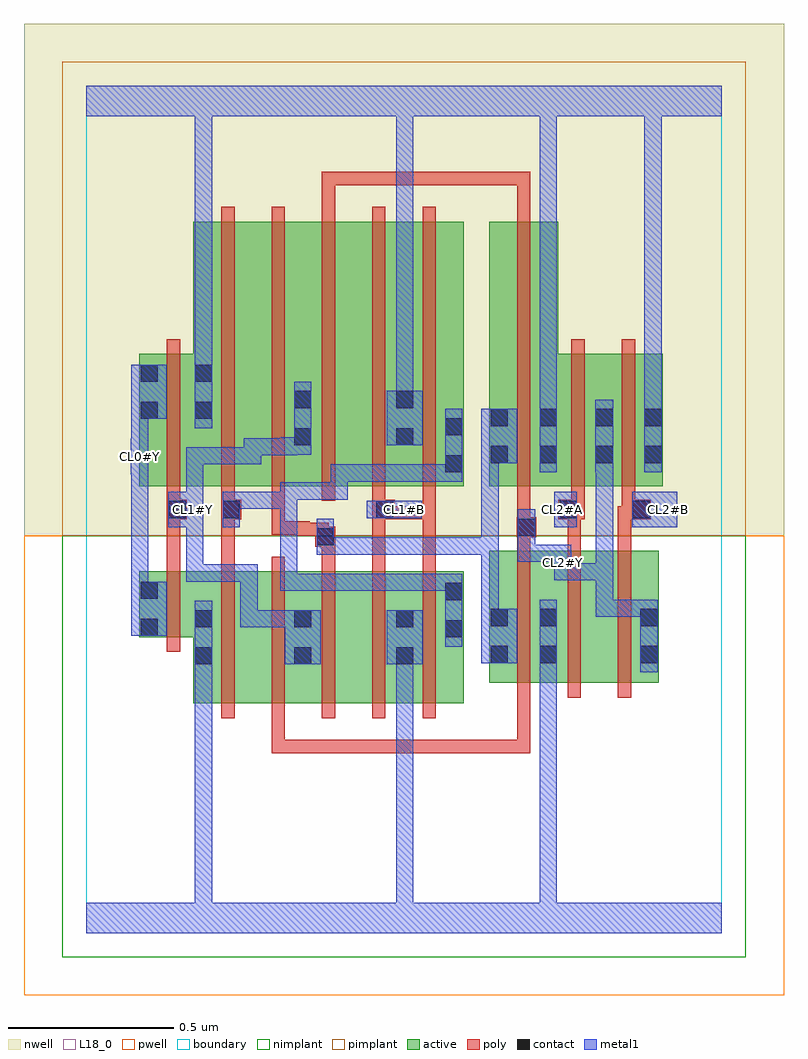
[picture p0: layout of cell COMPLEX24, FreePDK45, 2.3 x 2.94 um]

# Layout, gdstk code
import gdstk
lib = gdstk.Library(unit=1e-6, precision=1e-09)
def R(c, l, rs):  # rectangles x0, y0, x1, y1
    for r in rs: c.add(gdstk.rectangle(r[:2], r[2:], *l))
def A(c, l, x, y, w, h, nx, ny, dx, dy):  # array of equal rectangles
    R(c, l, [(x+i*dx, y+j*dy, x+i*dx+w, y+j*dy+h) for i in range(nx) for j in range(ny)])
active = (1, 0)
pwell = (2, 0)
nwell = (3, 0)
nimplant = (4, 0)
pimplant = (5, 0)
poly = (9, 0)
contact = (10, 0)
metal1 = (11, 0)
L18_0 = (18, 0)
boundary = (235, 0)

complex24 = lib.new_cell('COMPLEX24')
R(complex24, active, [(0.324,0.694,0.504,1.094), (0.504,0.694,0.684,1.094), (0.624,0.694,0.808,1.094), (0.624,0.694,0.684,0.98), (0.808,0.694,0.992,1.094), (0.932,0.694,1.14,1.094), (0.932,0.694,0.992,0.98), (1.08,0.694,1.14,1.094), (1.218,0.756,1.278,1.156), (1.218,0.756,1.426,1.156), (1.366,0.756,1.55,1.156), (1.366,0.756,1.426,0.984), (1.55,0.756,1.73,1.156), (1.67,0.756,1.73,1.156), (0.324,0.78,0.384,0.98), (0.16,0.894,0.22,1.094), (0.16,0.894,0.384,1.094), (0.16,1.35,0.22,1.75), (0.16,1.35,0.384,1.75), (0.324,1.35,0.504,2.15), (0.504,1.35,0.684,2.15), (0.624,1.35,0.808,2.15), (0.808,1.35,0.992,2.15), (0.932,1.35,1.14,2.15), (1.08,1.35,1.14,2.15), (1.218,1.35,1.426,2.15), (1.218,1.35,1.278,2.044), (1.366,1.35,1.594,1.75), (1.534,1.35,1.742,1.75), (1.682,1.35,1.742,1.75), (1.366,1.382,1.426,2.098), (1.534,1.416,1.594,1.75), (0.624,1.42,0.684,2.044), (0.932,1.458,0.992,2.13), (0.324,1.544,0.384,1.782)])
R(complex24, pwell, [(-0.188,-0.188,2.108,1.2)])
R(complex24, nwell, [(-0.188,1.2,2.108,2.748)])
R(complex24, nimplant, [(-0.072,-0.072,1.992,1.2)])
R(complex24, pimplant, [(-0.072,1.2,1.992,2.632)])
A(complex24, poly, 0.408, 0.65, 0.04, 0.488, 5, 1, 0.152, 0)
A(complex24, poly, 1.302, 0.712, 0.04, 0.488, 3, 1, 0.152, 0)
A(complex24, poly, 0.408, 1.306, 0.04, 0.888, 5, 1, 0.152, 0)
R(complex24, poly, [(0.56,0.544,0.6,0.584), (0.56,0.544,0.6,0.584), (0.56,0.544,0.6,0.584), (0.56,0.544,0.6,0.69), (0.56,0.544,0.798,0.584), (0.758,0.544,0.798,0.584), (0.758,0.544,0.798,0.584), (0.758,0.544,0.798,0.584), (0.758,0.544,0.95,0.584), (0.91,0.544,0.95,0.584), (0.91,0.544,0.95,0.584), (0.91,0.544,0.95,0.584), (0.91,0.544,1.234,0.584), (1.194,0.544,1.234,0.584), (1.194,0.544,1.234,0.584), (1.194,0.544,1.234,0.584), (1.194,0.544,1.342,0.584), (1.302,0.544,1.342,0.584), (1.302,0.544,1.342,0.584), (1.302,0.544,1.342,0.584), (1.302,0.544,1.342,0.752), (0.244,0.85,0.284,1.138), (0.244,1.098,0.284,1.29), (0.408,1.098,0.448,1.29), (0.712,1.098,0.752,1.208), (0.864,1.098,0.904,1.29), (1.016,1.098,1.056,1.29), (1.302,1.16,1.342,1.236), (1.454,1.16,1.494,1.29), (1.606,1.16,1.646,1.29), (0.692,1.168,0.752,1.228), (0.692,1.188,0.732,1.24), (1.3,1.196,1.36,1.256), (0.636,1.2,0.732,1.24), (0.636,1.2,0.676,1.244), (0.692,1.2,0.732,1.24), (0.56,1.204,0.6,1.244), (0.56,1.204,0.676,1.244), (0.56,1.204,0.6,1.346), (1.302,1.216,1.342,1.256), (1.302,1.216,1.342,1.256), (1.302,1.216,1.342,1.346), (0.244,1.25,0.304,1.31), (0.408,1.25,0.468,1.31), (0.864,1.25,0.904,1.29), (0.864,1.25,0.904,1.29), (0.864,1.25,1.056,1.29), (0.864,1.25,0.932,1.31), (1.016,1.25,1.056,1.29), (1.016,1.25,1.056,1.29), (1.016,1.25,1.056,1.29), (1.016,1.25,1.056,1.29), (1.016,1.25,1.056,1.29), (1.016,1.25,1.056,1.346), (1.426,1.25,1.506,1.31), (1.454,1.25,1.494,1.29), (1.454,1.25,1.494,1.29), (1.606,1.25,1.658,1.29), (1.618,1.25,1.658,1.29), (1.618,1.25,1.706,1.31), (0.244,1.27,0.284,1.346), (0.244,1.27,0.284,1.31), (0.244,1.27,0.284,1.31), (0.408,1.27,0.448,1.346), (0.408,1.27,0.448,1.31), (0.408,1.27,0.448,1.31), (0.864,1.27,0.904,1.346), (1.466,1.27,1.506,1.346), (1.618,1.27,1.658,1.346), (0.244,1.306,0.284,1.794), (1.302,1.306,1.342,2.194), (1.466,1.306,1.506,1.794), (1.618,1.306,1.658,1.794), (0.712,2.154,0.752,2.3), (1.302,2.154,1.342,2.3), (0.712,2.26,0.752,2.3), (0.712,2.26,0.782,2.3), (0.742,2.26,0.782,2.3), (0.742,2.26,0.95,2.3), (0.91,2.26,0.95,2.3), (0.91,2.26,0.95,2.3), (0.91,2.26,0.95,2.3), (0.91,2.26,1.162,2.3), (1.122,2.26,1.162,2.3), (1.122,2.26,1.162,2.3), (1.122,2.26,1.162,2.3), (1.122,2.26,1.342,2.3), (1.302,2.26,1.342,2.3), (1.302,2.26,1.342,2.3), (1.302,2.26,1.342,2.3)])
R(complex24, contact, [(0.328,0.812,0.38,0.864), (0.628,0.812,0.68,0.864), (0.936,0.812,0.988,0.864), (1.222,0.816,1.274,0.868), (1.37,0.816,1.422,0.868), (1.674,0.816,1.726,0.868), (1.084,0.894,1.136,0.946), (0.164,0.898,0.216,0.95), (0.328,0.924,0.38,0.976), (0.628,0.924,0.68,0.976), (0.936,0.924,0.988,0.976), (1.222,0.928,1.274,0.98), (1.37,0.928,1.422,0.98), (1.674,0.928,1.726,0.98), (1.084,1.006,1.136,1.058), (0.164,1.01,0.216,1.062), (0.696,1.172,0.748,1.224), (1.304,1.2,1.356,1.252), (0.248,1.254,0.3,1.306), (0.412,1.254,0.464,1.306), (0.876,1.254,0.928,1.306), (1.43,1.254,1.482,1.306), (1.65,1.254,1.702,1.306), (1.084,1.392,1.136,1.444), (1.222,1.42,1.274,1.472), (1.37,1.42,1.422,1.472), (1.538,1.42,1.59,1.472), (1.686,1.42,1.738,1.472), (0.628,1.474,0.68,1.526), (0.936,1.474,0.988,1.526), (1.084,1.504,1.136,1.556), (1.222,1.532,1.274,1.584), (1.37,1.532,1.422,1.584), (1.538,1.532,1.59,1.584), (1.686,1.532,1.738,1.584), (0.164,1.554,0.216,1.606), (0.328,1.554,0.38,1.606), (0.628,1.586,0.68,1.638), (0.936,1.586,0.988,1.638), (0.164,1.666,0.216,1.718), (0.328,1.666,0.38,1.718)])
A(complex24, metal1, 0.974, 1.144, 0.052, 0.052, 3, 1, 0.11, 0)
R(complex24, metal1, [(0,0,1.92,0.092), (0.328,0.04,0.38,0.092), (0.328,0.04,0.38,0.092), (0.328,0.04,0.38,0.092), (0.328,0.04,0.38,0.092), (0.328,0.04,0.38,0.092), (0.328,0.04,0.38,0.092), (0.328,0.04,0.38,0.092), (0.328,0.04,0.38,0.092), (0.328,0.04,0.38,0.092), (0.328,0.04,0.38,0.092), (0.328,0.04,0.38,0.836), (0.936,0.04,0.988,0.092), (0.936,0.04,0.988,0.092), (0.936,0.04,0.988,0.092), (0.936,0.04,0.988,0.092), (0.936,0.04,0.988,0.092), (0.936,0.04,0.988,0.092), (0.936,0.04,0.988,0.092), (0.936,0.04,0.988,0.092), (0.936,0.04,0.988,0.092), (0.936,0.04,0.988,0.092), (0.936,0.04,0.988,0.092), (0.936,0.04,0.988,0.092), (0.936,0.04,0.988,0.864), (1.37,0.04,1.422,0.092), (1.37,0.04,1.422,0.092), (1.37,0.04,1.422,0.092), (1.37,0.04,1.422,0.092), (1.37,0.04,1.422,0.092), (1.37,0.04,1.422,0.092), (1.37,0.04,1.422,0.092), (1.37,0.04,1.422,0.092), (1.37,0.04,1.422,0.092), (1.37,0.04,1.422,0.092), (1.37,0.04,1.422,0.84), (0.328,0.784,0.38,0.836), (0.328,0.784,0.38,0.836), (0.328,0.784,0.38,1.004), (1.37,0.788,1.422,0.84), (1.37,0.788,1.422,0.84), (1.37,0.788,1.422,1.008), (1.674,0.788,1.726,1.008), (0.6,0.812,0.708,0.976), (0.908,0.812,1.016,0.976), (1.194,0.816,1.302,0.98), (1.084,0.866,1.136,1.086), (0.136,0.898,0.244,1.062), (0.466,0.924,0.518,0.976), (0.466,0.924,0.638,0.976), (0.466,0.924,0.518,1.114), (0.586,0.924,0.638,0.976), (0.586,0.924,0.652,0.976), (1.194,0.928,1.246,1.196), (1.54,0.956,1.592,1.008), (1.54,0.956,1.726,1.008), (1.54,0.956,1.592,1.118), (1.674,0.956,1.726,1.008), (1.674,0.956,1.726,1.008), (0.136,1.01,0.188,1.438), (0.586,1.034,0.638,1.086), (0.586,1.034,0.79,1.086), (0.586,1.034,0.638,1.334), (0.738,1.034,0.79,1.086), (0.738,1.034,0.79,1.086), (0.738,1.034,0.79,1.086), (0.738,1.034,0.9,1.086), (0.848,1.034,0.9,1.086), (0.848,1.034,0.9,1.086), (0.848,1.034,0.9,1.086), (0.848,1.034,1.136,1.086), (1.084,1.034,1.136,1.086), (1.084,1.034,1.136,1.086), (0.302,1.062,0.354,1.114), (0.302,1.062,0.518,1.114), (0.302,1.062,0.354,1.334), (0.466,1.062,0.518,1.114), (0.466,1.062,0.518,1.114), (0.466,1.062,0.518,1.114), (1.414,1.066,1.592,1.118), (1.414,1.066,1.466,1.174), (1.54,1.066,1.592,1.118), (1.54,1.066,1.592,1.118), (1.54,1.066,1.592,1.118), (1.54,1.066,1.592,1.118), (1.54,1.066,1.592,1.118), (1.54,1.066,1.592,1.444), (1.304,1.122,1.466,1.174), (1.304,1.122,1.356,1.28), (0.696,1.144,0.748,1.196), (0.696,1.144,0.748,1.196), (0.696,1.144,0.748,1.252), (0.696,1.144,1.026,1.196), (0.974,1.144,1.026,1.196), (0.974,1.144,1.026,1.196), (0.974,1.144,1.136,1.196), (1.084,1.144,1.246,1.196), (1.194,1.144,1.246,1.196), (1.194,1.144,1.246,1.196), (1.194,1.144,1.246,1.196), (1.194,1.144,1.246,1.196), (1.194,1.144,1.246,1.472), (0.248,1.226,0.346,1.334), (0.412,1.226,0.464,1.334), (1.414,1.226,1.482,1.334), (1.65,1.226,1.786,1.334), (0.848,1.254,1.014,1.306), (0.294,1.282,0.354,1.334), (0.302,1.282,0.354,1.334), (0.302,1.282,0.354,1.334), (0.302,1.282,0.354,1.334), (0.302,1.282,0.354,1.468), (0.412,1.282,0.464,1.334), (0.412,1.282,0.464,1.334), (0.412,1.282,0.638,1.334), (0.586,1.282,0.638,1.334), (0.586,1.282,0.638,1.334), (0.586,1.282,0.638,1.334), (0.586,1.282,0.638,1.362), (0.586,1.31,0.638,1.362), (0.586,1.31,0.79,1.362), (0.738,1.31,0.79,1.362), (0.738,1.31,0.79,1.362), (0.738,1.31,0.79,1.362), (0.738,1.31,0.79,1.416), (0.738,1.364,0.79,1.416), (0.738,1.364,1.02,1.416), (0.968,1.364,1.02,1.416), (0.968,1.364,1.02,1.416), (0.968,1.364,1.02,1.416), (0.968,1.364,1.136,1.416), (1.084,1.364,1.136,1.416), (1.084,1.364,1.136,1.416), (1.084,1.364,1.136,1.584), (0.134,1.386,0.188,1.494), (1.37,1.392,1.422,1.612), (1.538,1.392,1.592,1.612), (1.686,1.392,1.738,1.612), (0.302,1.416,0.354,1.468), (0.302,1.416,0.528,1.468), (0.476,1.416,0.528,1.496), (1.194,1.42,1.302,1.584), (0.136,1.442,0.188,1.606), (0.476,1.444,0.528,1.496), (0.476,1.444,0.528,1.496), (0.476,1.444,0.638,1.496), (0.586,1.444,0.638,1.498), (0.586,1.446,0.68,1.498), (0.628,1.446,0.68,1.666), (0.908,1.474,1.016,1.638), (0.328,1.526,0.38,1.746), (0.136,1.554,0.188,1.606), (0.136,1.554,0.188,1.606), (0.136,1.554,0.244,1.718), (1.37,1.56,1.422,2.52), (1.686,1.56,1.738,2.52), (0.936,1.586,0.988,1.638), (0.936,1.586,0.988,1.638), (0.936,1.586,0.988,2.52), (0.328,1.694,0.38,2.52), (0,2.468,1.92,2.56), (0.328,2.468,0.38,2.52), (0.328,2.468,0.38,2.52), (0.328,2.468,0.38,2.52), (0.328,2.468,0.38,2.52), (0.328,2.468,0.38,2.52), (0.328,2.468,0.38,2.52), (0.328,2.468,0.38,2.52), (0.328,2.468,0.38,2.52), (0.936,2.468,0.988,2.52), (0.936,2.468,0.988,2.52), (0.936,2.468,0.988,2.52), (0.936,2.468,0.988,2.52), (0.936,2.468,0.988,2.52), (0.936,2.468,0.988,2.52), (1.37,2.468,1.422,2.52), (1.37,2.468,1.422,2.52), (1.37,2.468,1.422,2.52), (1.37,2.468,1.422,2.52), (1.37,2.468,1.422,2.52), (1.37,2.468,1.422,2.52), (1.37,2.468,1.422,2.52), (1.37,2.468,1.422,2.52), (1.686,2.468,1.738,2.52), (1.686,2.468,1.738,2.52), (1.686,2.468,1.738,2.52), (1.686,2.468,1.738,2.52), (1.686,2.468,1.738,2.52), (1.686,2.468,1.738,2.52), (1.686,2.468,1.738,2.52), (1.686,2.468,1.738,2.52), (1.686,2.468,1.738,2.52), (1.686,2.468,1.738,2.52), (1.686,2.468,1.738,2.52), (1.686,2.468,1.738,2.52), (1.686,2.468,1.738,2.52), (1.686,2.468,1.738,2.52), (1.686,2.468,1.738,2.52), (1.686,2.468,1.738,2.52)])
R(complex24, L18_0, [(0,0,1.92,0.092), (0.328,0.04,0.38,0.092), (0.328,0.04,0.38,0.092), (0.328,0.04,0.38,0.092), (0.328,0.04,0.38,0.092), (0.328,0.04,0.38,0.092), (0.328,0.04,0.38,0.092), (0.328,0.04,0.38,0.092), (0.328,0.04,0.38,0.092), (0.328,0.04,0.38,0.092), (0.328,0.04,0.38,0.092), (0.328,0.04,0.38,0.836), (0.936,0.04,0.988,0.092), (0.936,0.04,0.988,0.092), (0.936,0.04,0.988,0.092), (0.936,0.04,0.988,0.092), (0.936,0.04,0.988,0.092), (0.936,0.04,0.988,0.092), (0.936,0.04,0.988,0.092), (0.936,0.04,0.988,0.092), (0.936,0.04,0.988,0.092), (0.936,0.04,0.988,0.092), (0.936,0.04,0.988,0.092), (0.936,0.04,0.988,0.092), (0.936,0.04,0.988,0.864), (1.37,0.04,1.422,0.092), (1.37,0.04,1.422,0.092), (1.37,0.04,1.422,0.092), (1.37,0.04,1.422,0.092), (1.37,0.04,1.422,0.092), (1.37,0.04,1.422,0.092), (1.37,0.04,1.422,0.092), (1.37,0.04,1.422,0.092), (1.37,0.04,1.422,0.092), (1.37,0.04,1.422,0.092), (1.37,0.04,1.422,0.84), (0.328,0.784,0.38,0.836), (0.328,0.784,0.38,0.836), (0.328,0.784,0.38,1.004), (1.37,0.788,1.422,0.84), (1.37,0.788,1.422,0.84), (1.37,0.788,1.422,1.008), (1.674,0.788,1.726,1.008), (0.6,0.812,0.708,0.976), (0.908,0.812,1.016,0.976), (0.136,0.898,0.244,1.062), (0.466,0.924,0.518,0.976), (0.466,0.924,0.518,1.114), (0.466,0.924,0.638,0.976), (0.586,0.924,0.638,0.976), (0.586,0.924,0.652,0.976), (1.54,0.956,1.592,1.008), (1.54,0.956,1.592,1.118), (1.54,0.956,1.726,1.008), (1.674,0.956,1.726,1.008), (1.674,0.956,1.726,1.008), (0.136,1.01,0.188,1.438), (0.302,1.062,0.354,1.114), (0.302,1.062,0.354,1.334), (0.302,1.062,0.518,1.114), (0.466,1.062,0.518,1.114), (0.466,1.062,0.518,1.114), (0.466,1.062,0.518,1.114), (1.414,1.066,1.466,1.174), (1.414,1.066,1.592,1.118), (1.54,1.066,1.592,1.118), (1.54,1.066,1.592,1.118), (1.54,1.066,1.592,1.118), (1.54,1.066,1.592,1.118), (1.54,1.066,1.592,1.118), (1.54,1.066,1.592,1.444), (1.414,1.094,1.466,1.146), (1.304,1.122,1.466,1.174), (1.304,1.122,1.356,1.28), (0.248,1.226,0.346,1.334), (1.414,1.226,1.482,1.334), (1.65,1.226,1.786,1.334), (0.294,1.254,0.346,1.306), (0.848,1.254,1.014,1.306), (0.934,1.254,0.986,1.306), (1.414,1.254,1.466,1.306), (1.734,1.254,1.786,1.306), (0.294,1.282,0.354,1.334), (0.302,1.282,0.354,1.334), (0.302,1.282,0.354,1.334), (0.302,1.282,0.354,1.334), (0.302,1.282,0.354,1.468), (0.134,1.386,0.188,1.494), (1.37,1.392,1.422,1.612), (1.538,1.392,1.592,1.612), (1.686,1.392,1.738,1.612), (0.134,1.414,0.186,1.466), (0.302,1.416,0.354,1.468), (0.302,1.416,0.528,1.468), (0.476,1.416,0.528,1.496), (0.136,1.442,0.188,1.606), (0.476,1.444,0.528,1.496), (0.476,1.444,0.528,1.496), (0.476,1.444,0.638,1.496), (0.586,1.444,0.638,1.498), (0.586,1.446,0.68,1.498), (0.628,1.446,0.68,1.666), (0.908,1.474,1.016,1.638), (0.328,1.526,0.38,1.746), (0.136,1.554,0.244,1.718), (0.136,1.554,0.188,1.606), (0.136,1.554,0.188,1.606), (1.37,1.56,1.422,2.52), (1.686,1.56,1.738,2.52), (0.936,1.586,0.988,1.638), (0.936,1.586,0.988,1.638), (0.936,1.586,0.988,2.52), (0.328,1.694,0.38,2.52), (0,2.468,1.92,2.56), (0.328,2.468,0.38,2.52), (0.328,2.468,0.38,2.52), (0.328,2.468,0.38,2.52), (0.328,2.468,0.38,2.52), (0.328,2.468,0.38,2.52), (0.328,2.468,0.38,2.52), (0.328,2.468,0.38,2.52), (0.328,2.468,0.38,2.52), (0.936,2.468,0.988,2.52), (0.936,2.468,0.988,2.52), (0.936,2.468,0.988,2.52), (0.936,2.468,0.988,2.52), (0.936,2.468,0.988,2.52), (0.936,2.468,0.988,2.52), (1.37,2.468,1.422,2.52), (1.37,2.468,1.422,2.52), (1.37,2.468,1.422,2.52), (1.37,2.468,1.422,2.52), (1.37,2.468,1.422,2.52), (1.37,2.468,1.422,2.52), (1.37,2.468,1.422,2.52), (1.37,2.468,1.422,2.52), (1.686,2.468,1.738,2.52), (1.686,2.468,1.738,2.52), (1.686,2.468,1.738,2.52), (1.686,2.468,1.738,2.52), (1.686,2.468,1.738,2.52), (1.686,2.468,1.738,2.52), (1.686,2.468,1.738,2.52), (1.686,2.468,1.738,2.52), (1.686,2.468,1.738,2.52), (1.686,2.468,1.738,2.52), (1.686,2.468,1.738,2.52), (1.686,2.468,1.738,2.52), (1.686,2.468,1.738,2.52), (1.686,2.468,1.738,2.52), (1.686,2.468,1.738,2.52), (1.686,2.468,1.738,2.52)])
R(complex24, boundary, [(0,0,1.92,2.56)])
complex24.add(gdstk.Label('CL0#Y', (0.16,1.44), layer=11, texttype=0))
complex24.add(gdstk.Label('CL1#B', (0.96,1.28), layer=11, texttype=0))
complex24.add(gdstk.Label('CL1#Y', (0.32,1.28), layer=11, texttype=0))
complex24.add(gdstk.Label('CL2#A', (1.44,1.28), layer=11, texttype=0))
complex24.add(gdstk.Label('CL2#B', (1.76,1.28), layer=11, texttype=0))
complex24.add(gdstk.Label('CL2#Y', (1.44,1.12), layer=11, texttype=0))

lib.write_gds('COMPLEX24.gds')
